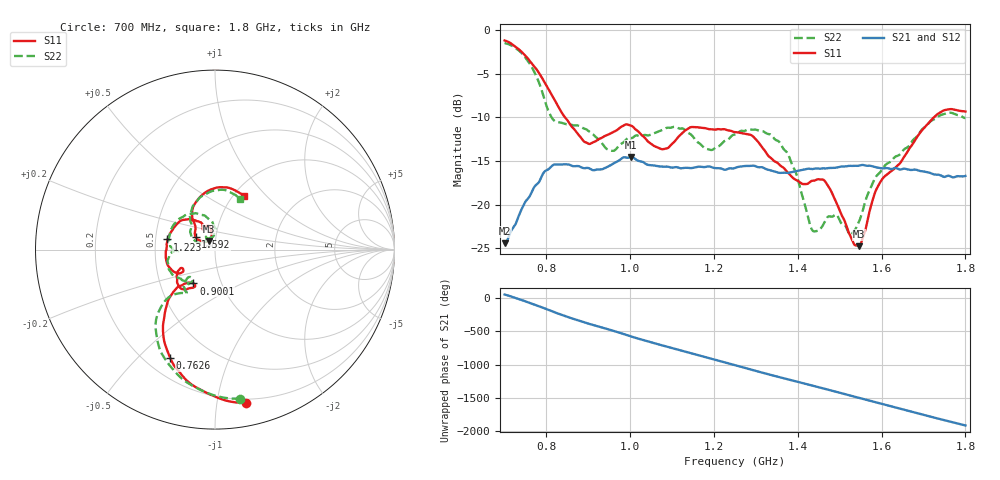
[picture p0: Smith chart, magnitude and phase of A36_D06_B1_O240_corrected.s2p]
! Created with skrf 1.9.0 (http://scikit-rf.org).
# Hz S RI R 50.0
!freq ReS11 ImS11 ReS21 ImS21 ReS12 ImS12 ReS22 ImS22
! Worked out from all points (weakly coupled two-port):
!   1601 points, 700 MHz to 1.8 GHz, reference 50 ohm
!   highest |S21| = -14.54 dB at 1.002 GHz (marker M1); lowest = -24.4 dB at 700.7 MHz (marker M2)
!   lowest |S11| = -24.7 dB at 1.546 GHz (marker M3), VSWR 1.12, Z = 46.6 + j4.46 ohm
!   |S11| at or under -10 dB: 844.3 MHz to 1.725 GHz (880.4 MHz wide, 68.5 % of centre)
!   |S22| runs from -23.4 to -1.5 dB; largest |S21 - S12| = 0.0035
!   S11 on the Smith chart (normalised r, x): 700 MHz: 0.17, -1.21; 762.6 MHz: 0.30, -0.63; 900.1 MHz: 0.74, -0.29; 1.223 GHz: 0.58, +0.07; 1.592 GHz: 0.80, +0.11; 1.8 GHz: 1.12, +0.76
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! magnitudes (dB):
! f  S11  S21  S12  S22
! 700 MHz  -1.2  -24.4  -24.2  -1.5
! 700.7 MHz  -1.2  -24.4  -24.1  -1.5
! 762.6 MHz  -3.7  -18.8  -18.7  -4.0
! 815.5 MHz  -7.7  -15.5  -15.5  -10.2
! 883.6 MHz  -12.4  -15.7  -15.6  -11.2
! 900.1 MHz  -13.0  -15.8  -15.8  -11.6
! 954.4 MHz  -11.8  -15.4  -15.4  -13.8
! 1.002 GHz  -11.0  -14.5  -14.6  -12.4
! 1.067 GHz  -13.5  -15.6  -15.5  -11.6
! 1.144 GHz  -11.1  -15.8  -15.8  -11.9
! 1.223 GHz  -11.3  -16.0  -16.0  -12.8
! 1.25 GHz  -11.7  -15.8  -15.7  -12.0
! 1.357 GHz  -15.4  -16.4  -16.3  -12.9
! 1.394 GHz  -17.1  -16.2  -16.2  -16.2
! 1.434 GHz  -17.3  -15.9  -15.9  -22.8
! 1.467 GHz  -17.5  -15.8  -15.8  -21.7
! 1.526 GHz  -23.6  -15.5  -15.5  -23.4
! 1.546 GHz  -24.7  -15.5  -15.5  -21.9
! 1.592 GHz  -17.9  -15.8  -15.7  -16.5
! 1.617 GHz  -16.4  -15.8  -15.8  -15.2
! 1.732 GHz  -9.7  -16.6  -16.6  -10.0
! 1.8 GHz  -9.3  -16.7  -16.7  -10.1
